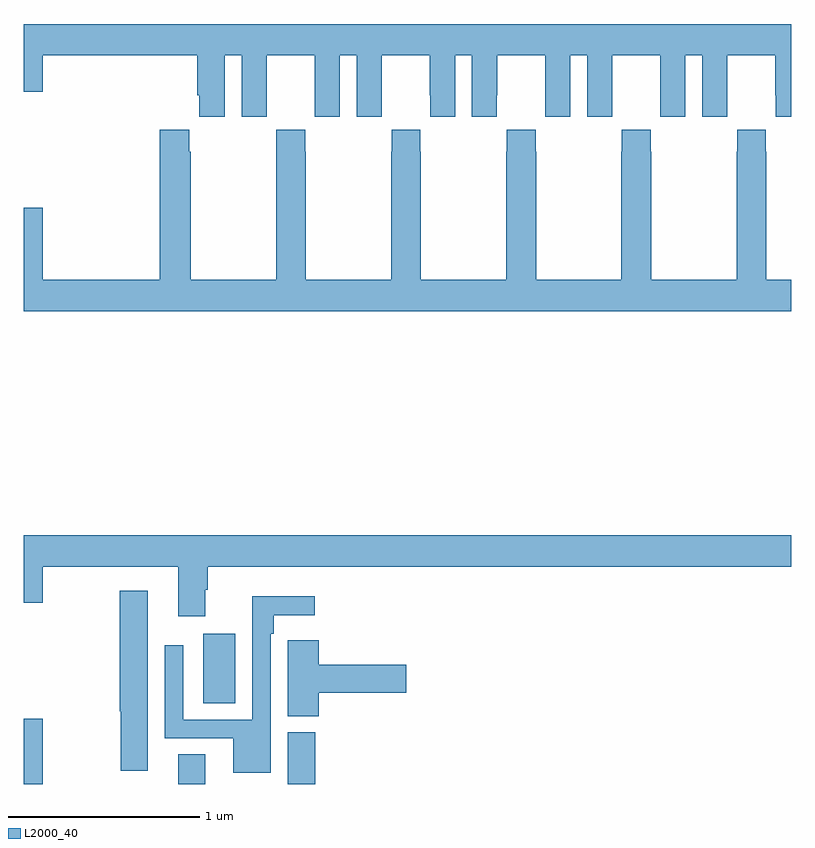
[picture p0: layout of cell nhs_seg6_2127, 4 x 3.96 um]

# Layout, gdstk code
import gdstk
lib = gdstk.Library(unit=1e-6, precision=1e-09)
def R(c, l, rs):  # rectangles x0, y0, x1, y1
    for r in rs: c.add(gdstk.rectangle(r[:2], r[2:], *l))
def P(c, l, *ps):  # polygons
    for p in ps: c.add(gdstk.Polygon(p, *l))
L2000_40 = (2000, 40)

nhs_seg6_2127 = lib.new_cell('nhs_seg6_2127')
R(nhs_seg6_2127, L2000_40, [(237,983.5,237.1,983.839), (237.806,983.5,237.946,983.654), (238.376,983.5,238.52,983.769), (237.935,983.92,238.102,984.283)])
P(nhs_seg6_2127, L2000_40, [(238.048,987.296),(238.136,987.296),(238.136,986.976),(238.266,986.976),(238.266,987.088),(238.267,987.088),(238.267,987.296),(238.517,987.296),(238.517,987.088),(238.518,987.088),(238.518,986.976),(238.648,986.976),(238.648,987.296),(238.736,987.296),(238.736,986.976),(238.866,986.976),(238.866,987.088),(238.867,987.088),(238.867,987.296),(239.117,987.296),(239.117,987.088),(239.118,987.088),(239.118,986.976),(239.248,986.976),(239.248,987.296),(239.336,987.296),(239.336,986.976),(239.466,986.976),(239.466,987.088),(239.467,987.088),(239.467,987.296),(239.717,987.296),(239.717,987.088),(239.718,987.088),(239.718,986.976),(239.848,986.976),(239.848,987.296),(239.936,987.296),(239.936,986.976),(240.066,986.976),(240.066,987.088),(240.067,987.088),(240.067,987.296),(240.317,987.296),(240.317,987.088),(240.318,987.088),(240.318,986.976),(240.448,986.976),(240.448,987.296),(240.536,987.296),(240.536,986.976),(240.666,986.976),(240.666,987.088),(240.667,987.088),(240.667,987.296),(240.917,987.296),(240.917,987.088),(240.918,987.088),(240.918,986.976),(241,986.976),(241,987.46),(237,987.46),(237,987.108),(237.1,987.108),(237.1,987.296),(237.905,987.296),(237.905,987.088),(237.914,987.088),(237.914,986.976),(238.048,986.976)],
  [(241,986.128),(240.87,986.128),(240.87,986.795),(240.867,986.795),(240.867,986.908),(240.717,986.908),(240.717,986.795),(240.715,986.795),(240.715,986.128),(240.27,986.128),(240.27,986.795),(240.267,986.795),(240.267,986.908),(240.117,986.908),(240.117,986.795),(240.115,986.795),(240.115,986.128),(239.67,986.128),(239.67,986.795),(239.667,986.795),(239.667,986.908),(239.517,986.908),(239.517,986.795),(239.515,986.795),(239.515,986.128),(239.07,986.128),(239.07,986.795),(239.067,986.795),(239.067,986.908),(238.917,986.908),(238.917,986.795),(238.915,986.795),(238.915,986.128),(238.47,986.128),(238.47,986.795),(238.467,986.795),(238.467,986.908),(238.317,986.908),(238.317,986.795),(238.315,986.795),(238.315,986.128),(237.87,986.128),(237.87,986.795),(237.863,986.795),(237.863,986.908),(237.71,986.908),(237.71,986.128),(237.1,986.128),(237.1,986.503),(237,986.503),(237,985.964),(241,985.964)],
  [(237.946,984.512),(237.959,984.512),(237.959,984.632),(241,984.632),(241,984.796),(237,984.796),(237,984.444),(237.1,984.444),(237.1,984.632),(237.806,984.632),(237.806,984.375),(237.946,984.375)],
  [(237.646,984.508),(237.5,984.508),(237.5,983.88),(237.505,983.88),(237.505,983.568),(237.646,983.568)],
  [(238.287,984.284),(238.303,984.284),(238.303,984.38),(238.516,984.38),(238.516,984.478),(238.191,984.478),(238.191,983.835),(237.831,983.835),(237.831,984.223),(237.735,984.223),(237.735,983.739),(238.091,983.739),(238.091,983.558),(238.287,983.558)],
  [(238.538,983.975),(238.993,983.975),(238.993,984.122),(238.538,984.122),(238.538,984.25),(238.377,984.25),(238.377,984.137),(238.376,984.137),(238.376,983.854),(238.538,983.854)])

lib.write_gds('nhs_seg6_2127.gds')
